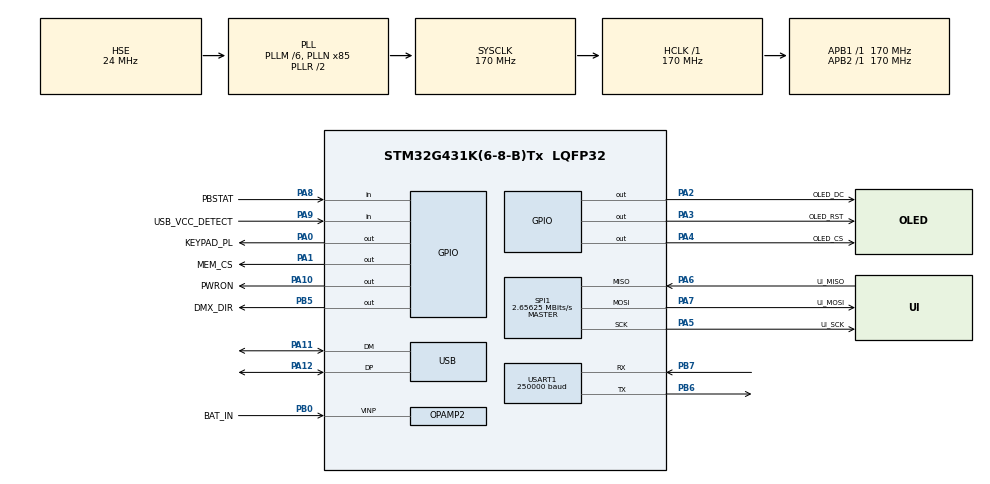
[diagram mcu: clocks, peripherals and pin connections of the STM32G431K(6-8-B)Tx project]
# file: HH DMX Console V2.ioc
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ADC2.Channel-0\#ChannelRegularConversion=ADC_CHANNEL_VOPAMP2
ADC2.ClockPrescaler=ADC_CLOCK_ASYNC_DIV256
ADC2.NbrOfConversionFlag=1
ADC2.OffsetNumber-0\#ChannelRegularConversion=ADC_OFFSET_NONE
ADC2.OversamplingMode=ENABLE
ADC2.Rank-0\#ChannelRegularConversion=1
ADC2.Ratio=ADC_OVERSAMPLING_RATIO_128
ADC2.RightBitShift=ADC_RIGHTBITSHIFT_7
ADC2.SamplingTime-0\#ChannelRegularConversion=ADC_SAMPLETIME_2CYCLES_5
Dma.Request0=SPI1_TX
Dma.Request1=USART1_TX
Dma.Request2=SPI1_RX
Dma.SPI1_RX.2.Direction=DMA_PERIPH_TO_MEMORY
Dma.SPI1_RX.2.EventEnable=DISABLE
Dma.SPI1_RX.2.Instance=DMA1_Channel3
Dma.SPI1_RX.2.MemDataAlignment=DMA_MDATAALIGN_BYTE
Dma.SPI1_RX.2.MemInc=DMA_MINC_ENABLE
Dma.SPI1_RX.2.Mode=DMA_NORMAL
Dma.SPI1_RX.2.PeriphDataAlignment=DMA_PDATAALIGN_BYTE
Dma.SPI1_RX.2.PeriphInc=DMA_PINC_DISABLE
Dma.SPI1_RX.2.Polarity=HAL_DMAMUX_REQ_GEN_RISING
Dma.SPI1_RX.2.Priority=DMA_PRIORITY_LOW
Dma.SPI1_RX.2.RequestNumber=1
Dma.SPI1_RX.2.SignalID=NONE
Dma.SPI1_RX.2.SyncEnable=DISABLE
Dma.SPI1_RX.2.SyncPolarity=HAL_DMAMUX_SYNC_NO_EVENT
Dma.SPI1_RX.2.SyncRequestNumber=1
Dma.SPI1_RX.2.SyncSignalID=NONE
Dma.SPI1_TX.0.Direction=DMA_MEMORY_TO_PERIPH
Dma.SPI1_TX.0.EventEnable=DISABLE
Dma.SPI1_TX.0.Instance=DMA1_Channel2
Dma.SPI1_TX.0.MemDataAlignment=DMA_MDATAALIGN_BYTE
Dma.SPI1_TX.0.MemInc=DMA_MINC_ENABLE
Dma.SPI1_TX.0.Mode=DMA_NORMAL
Dma.SPI1_TX.0.PeriphDataAlignment=DMA_PDATAALIGN_BYTE
Dma.SPI1_TX.0.PeriphInc=DMA_PINC_DISABLE
Dma.SPI1_TX.0.Polarity=HAL_DMAMUX_REQ_GEN_RISING
Dma.SPI1_TX.0.Priority=DMA_PRIORITY_LOW
Dma.SPI1_TX.0.RequestNumber=1
Dma.SPI1_TX.0.SignalID=NONE
Dma.SPI1_TX.0.SyncEnable=DISABLE
Dma.SPI1_TX.0.SyncPolarity=HAL_DMAMUX_SYNC_NO_EVENT
Dma.SPI1_TX.0.SyncRequestNumber=1
Dma.SPI1_TX.0.SyncSignalID=NONE
Dma.USART1_TX.1.Direction=DMA_MEMORY_TO_PERIPH
Dma.USART1_TX.1.EventEnable=DISABLE
Dma.USART1_TX.1.Instance=DMA1_Channel1
Dma.USART1_TX.1.MemDataAlignment=DMA_MDATAALIGN_BYTE
Dma.USART1_TX.1.MemInc=DMA_MINC_ENABLE
Dma.USART1_TX.1.Mode=DMA_NORMAL
Dma.USART1_TX.1.PeriphDataAlignment=DMA_PDATAALIGN_BYTE
Dma.USART1_TX.1.PeriphInc=DMA_PINC_DISABLE
Dma.USART1_TX.1.Polarity=HAL_DMAMUX_REQ_GEN_RISING
Dma.USART1_TX.1.Priority=DMA_PRIORITY_LOW
Dma.USART1_TX.1.RequestNumber=1
Dma.USART1_TX.1.SignalID=NONE
Dma.USART1_TX.1.SyncEnable=DISABLE
Dma.USART1_TX.1.SyncPolarity=HAL_DMAMUX_SYNC_NO_EVENT
Dma.USART1_TX.1.SyncRequestNumber=1
Dma.USART1_TX.1.SyncSignalID=NONE
Mcu.Family=STM32G4
Mcu.Name=STM32G431K(6-8-B)Tx
Mcu.Package=LQFP32
NVIC.ADC1_2_IRQn=true\:0\:0\:false\:false\:true\:true\:true
NVIC.DMA1_Channel1_IRQn=true\:0\:0\:false\:false\:true\:false\:true
NVIC.DMA1_Channel2_IRQn=true\:0\:0\:false\:false\:true\:false\:true
NVIC.DMA1_Channel3_IRQn=true\:0\:0\:false\:false\:true\:false\:true
NVIC.PriorityGroup=NVIC_PRIORITYGROUP_4
NVIC.SPI1_IRQn=true\:0\:0\:false\:false\:true\:true\:true
NVIC.TIM1_BRK_TIM15_IRQn=true\:0\:0\:false\:false\:true\:true\:true
NVIC.TIM1_TRG_COM_TIM17_IRQn=true\:0\:0\:false\:false\:true\:true\:true
NVIC.TIM1_UP_TIM16_IRQn=true\:0\:0\:false\:false\:true\:true\:true
NVIC.TIM6_DAC_IRQn=true\:0\:0\:false\:false\:true\:true\:true
NVIC.TIM7_IRQn=true\:0\:0\:false\:false\:true\:true\:true
NVIC.USART1_IRQn=true\:0\:0\:false\:false\:true\:true\:true
NVIC.USB_LP_IRQn=true\:0\:0\:false\:false\:true\:false\:true
PA0.GPIO_Label=KEYPAD_PL
PA0.Signal=GPIO_Output
PA1.GPIO_Label=MEM_CS
PA1.PinState=GPIO_PIN_SET
PA1.Signal=GPIO_Output
PA10.GPIO_Label=PWRON
PA10.GPIO_ModeDefaultOutputPP=GPIO_MODE_OUTPUT_PP
PA10.GPIO_PuPd=GPIO_NOPULL
PA10.GPIO_Speed=GPIO_SPEED_FREQ_LOW
PA10.PinState=GPIO_PIN_RESET
PA10.Signal=GPIO_Output
PA11.Mode=Device
PA11.Signal=USB_DM
PA12.Mode=Device
PA12.Signal=USB_DP
PA13.GPIO_Label=T_SWDIO
PA13.Mode=Trace_Asynchronous_SW
PA13.Signal=SYS_JTMS-SWDIO
PA14.GPIO_Label=T_SWCLK
PA14.Mode=Trace_Asynchronous_SW
PA14.Signal=SYS_JTCK-SWCLK
PA2.GPIO_Label=OLED_DC
PA2.Signal=GPIO_Output
PA3.GPIO_Label=OLED_RST
PA3.Signal=GPIO_Output
PA4.GPIO_Label=OLED_CS
PA4.Signal=GPIO_Output
PA5.GPIO_Label=UI_SCK
PA5.Mode=Full_Duplex_Master
PA5.Signal=SPI1_SCK
PA6.GPIO_Label=UI_MISO
PA6.Mode=Full_Duplex_Master
PA6.Signal=SPI1_MISO
PA7.GPIO_Label=UI_MOSI
PA7.Mode=Full_Duplex_Master
PA7.Signal=SPI1_MOSI
PA8.GPIO_Label=PBSTAT
PA8.GPIO_PuPd=GPIO_PULLUP
PA8.Signal=GPIO_Input
PA9.GPIO_Label=USB_VCC_DETECT
PA9.Signal=GPIO_Input
PB0.GPIO_Label=BAT_IN
PB0.Mode=Follower_Internally_Connected
PB0.Signal=OPAMP2_VINP
PB3.Mode=Trace_Asynchronous_SW
PB3.Signal=SYS_JTDO-SWO
PB5.GPIO_Label=DMX_DIR
PB5.Signal=GPIO_Output
PB6.Mode=Asynchronous
PB6.Signal=USART1_TX
PB7.Mode=Asynchronous
PB7.Signal=USART1_RX
PF0-OSC_IN.Mode=HSE-External-Oscillator
PF0-OSC_IN.Signal=RCC_OSC_IN
PF1-OSC_OUT.Mode=HSE-External-Oscillator
PF1-OSC_OUT.Signal=RCC_OSC_OUT
ProjectManager.HeapSize=0x200
ProjectManager.StackSize=0x400
ProjectManager.TargetToolchain=STM32CubeIDE
RCC.ADC12Freq_Value=170000000
RCC.AHBFreq_Value=170000000
RCC.APB1Freq_Value=170000000
RCC.APB1TimFreq_Value=170000000
RCC.APB2Freq_Value=170000000
RCC.APB2TimFreq_Value=170000000
RCC.CK48CLockSelection=RCC_USBCLKSOURCE_HSI48
RCC.CortexFreq_Value=170000000
RCC.EXTERNAL_CLOCK_VALUE=12288000
RCC.HCLKFreq_Value=170000000
RCC.HSE_VALUE=24000000
RCC.HSI48_VALUE=48000000
RCC.HSI_VALUE=16000000
RCC.LSE_VALUE=32768
RCC.PLLM=RCC_PLLM_DIV6
RCC.PLLN=85
RCC.PLLSourceVirtual=RCC_PLLSOURCE_HSE
RCC.SYSCLKFreq_VALUE=170000000
RCC.SYSCLKSource=RCC_SYSCLKSOURCE_PLLCLK
RCC.USBFreq_Value=48000000
RCC.VCOOutputFreq_Value=340000000
SPI1.BaudRatePrescaler=SPI_BAUDRATEPRESCALER_64
SPI1.CLKPhase=SPI_PHASE_1EDGE
SPI1.CLKPolarity=SPI_POLARITY_LOW
SPI1.CalculateBaudRate=2.65625 MBits/s
SPI1.DataSize=SPI_DATASIZE_8BIT
SPI1.Direction=SPI_DIRECTION_2LINES
SPI1.Mode=SPI_MODE_MASTER
SPI1.VirtualType=VM_MASTER
TIM15.AutoReloadPreload=TIM_AUTORELOAD_PRELOAD_ENABLE
TIM15.ClockDivision=TIM_CLOCKDIVISION_DIV1
TIM15.PeriodNoDither=1700
TIM15.Prescaler=10000
TIM16.AutoReloadPreload=TIM_AUTORELOAD_PRELOAD_ENABLE
TIM16.PeriodNoDither=850
TIM16.Prescaler=1000
TIM17.AutoReloadPreload=TIM_AUTORELOAD_PRELOAD_ENABLE
TIM17.PeriodNoDither=625
TIM17.Prescaler=2125
TIM6.AutoReloadPreload=TIM_AUTORELOAD_PRELOAD_ENABLE
TIM6.PeriodNoDither=92
TIM6.Prescaler=170
TIM7.AutoReloadPreload=TIM_AUTORELOAD_PRELOAD_ENABLE
TIM7.PeriodNoDither=12
TIM7.Prescaler=170
USART1.BaudRate=250000
USART1.Mode=MODE_TX
USART1.StopBits=STOPBITS_2
USART1.VirtualMode-Asynchronous=VM_ASYNC
USB_DEVICE.CLASS_NAME_FS=CDC
USB_DEVICE.VirtualMode=Cdc
USB_DEVICE.VirtualModeFS=Cdc_FS
VP_ADC2_OPAMP_INTERNAL2.Mode=IN-OPAMP2
VP_SYS_VS_DBSignals.Mode=DisableDeadBatterySignals
VP_TIM15_VS_ClockSourceINT.Mode=Internal
VP_TIM16_VS_ClockSourceINT.Mode=Enable_Timer
VP_TIM17_VS_ClockSourceINT.Mode=Enable_Timer
VP_TIM6_VS_ClockSourceINT.Mode=Enable_Timer
VP_TIM7_VS_ClockSourceINT.Mode=Enable_Timer
VP_USB_DEVICE_VS_USB_DEVICE_CDC_FS.Mode=CDC_FS
board=NUCLEO-G431KB

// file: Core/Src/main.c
/* USER CODE BEGIN Header */
/**
  ******************************************************************************
  * @file           : main.c
  * @brief          : Main program body
  ******************************************************************************
  * @attention
  *
  * <h2><center>&copy; Copyright (c) 2020 STMicroelectronics.
  * All rights reserved.</center></h2>
  *
  * This software component is licensed by ST under BSD 3-Clause license,
  * the "License"; You may not use this file except in compliance with the
  * License. You may obtain a copy of the License at:
  *                        opensource.org/licenses/BSD-3-Clause
  *
  ******************************************************************************
  */
/* USER CODE END Header */

#include "main.h"
#include "usb_device.h"

/* USER CODE BEGIN Includes */
#include "oled.h"
#include "stdio.h"
#include "cli.h"
#include "ui.h"
#include "keypad.h"
#include "eeprom.h"
#include "dmx.h"
#include "usb_iface.h"
#include "powerMgmt.h"
/* USER CODE END Includes */

ADC_HandleTypeDef hadc2;

OPAMP_HandleTypeDef hopamp2;

SPI_HandleTypeDef hspi1;
DMA_HandleTypeDef hdma_spi1_tx;
DMA_HandleTypeDef hdma_spi1_rx;

TIM_HandleTypeDef htim6;
TIM_HandleTypeDef htim7;
TIM_HandleTypeDef htim15;
TIM_HandleTypeDef htim16;
TIM_HandleTypeDef htim17;

UART_HandleTypeDef huart1;
DMA_HandleTypeDef hdma_usart1_tx;

/* USER CODE BEGIN PV */
extern uint8_t /*__attribute__ ((aligned(32)))*/ TXArray[513];
extern uint8_t switchToBootloader;
extern uint8_t presetData[CLI_PRESET_COUNT][512];

/* USER CODE END PV */

void SystemClock_Config(void);
static void MX_GPIO_Init(void);
static void MX_DMA_Init(void);
static void MX_TIM7_Init(void);
static void MX_TIM6_Init(void);
static void MX_SPI1_Init(void);
static void MX_TIM16_Init(void);
static void MX_TIM17_Init(void);
static void MX_TIM15_Init(void);
static void MX_USART1_UART_Init(void);
static void MX_ADC2_Init(void);
static void MX_OPAMP2_Init(void);

/* USER CODE BEGIN 0 */
void HAL_TIM_PeriodElapsedCallback (TIM_HandleTypeDef *htim)
{
	if(htim == &htim6 || htim == &htim7)	//12uS and 92uS
		DMX_TIM_PeriodElapsedCallback(htim);
	if(htim == &htim16)						//5mS
		UI_TimerCallback();
	if(htim == &htim15)						//500mS
		POWER_CheckStatus();
	if(htim == &htim17)						//7.8125mS
		CLI_Timer_Callback ();
}

int _write(int file, char *ptr, int len)
{
	int DataIdx;

	for (DataIdx = 0; DataIdx < len; DataIdx++)
	{
		ITM_SendChar(*ptr++);
	}
	return len;
}
/* USER CODE END 0 */

int main(void)
{
  /* USER CODE BEGIN 1 */
 	if(switchToBootloader == 0x11)
	USB_BootloaderInit();
  /* USER CODE END 1 */

  /* MCU Configuration--------------------------------------------------------*/

  /* Reset of all peripherals, Initializes the Flash interface and the Systick. */
  HAL_Init();

  /* Configure the system clock */
  SystemClock_Config();

  /* Initialize all configured peripherals */
  MX_GPIO_Init();
  MX_DMA_Init();
  MX_TIM7_Init();
  MX_TIM6_Init();
  MX_SPI1_Init();
  MX_TIM16_Init();
  MX_TIM17_Init();
  MX_TIM15_Init();
  MX_USART1_UART_Init();
  MX_USB_Device_Init();
  MX_ADC2_Init();
  MX_OPAMP2_Init();
  /* USER CODE BEGIN 2 */

  HAL_GPIO_WritePin(GPIOA, PWRON_Pin, GPIO_PIN_SET);
  HAL_GPIO_WritePin(GPIOA, PWRON_Pin, GPIO_PIN_RESET);

  UI_Init();
  while(!OLED_IsReady())
    UI_ProcessQueue();

  DMX_Init();
  CLI_Init(TXArray);
  POWER_Init();

  for(uint8_t i = 0; i < CLI_PRESET_COUNT; i++)
  {
	  while(EEPROM_IsBusy())
	  	  UI_ProcessQueue();

	  EEPROM_ReadBlock(i * 512, presetData[i], 512);
  }

  printf("Initialization Complete\n");
  /* USER CODE END 2 */

  /* Infinite loop */
  /* USER CODE BEGIN WHILE */
  while (1)
  {
    UI_ProcessQueue();
    Keypad_ProcessButtonPress();
    POWER_CheckPowerButton();
    EEPROM_QueryBusyFlag();
/*    if(!EEPROM_IsBusy())
    {
#ifdef DEBUG
    	__BKPT(0);
#endif
    }*/
    /* USER CODE END WHILE */

  }
}

void SystemClock_Config(void)
{
  RCC_OscInitTypeDef RCC_OscInitStruct = {0};
  RCC_ClkInitTypeDef RCC_ClkInitStruct = {0};
  RCC_PeriphCLKInitTypeDef PeriphClkInit = {0};

  /** Configure the main internal regulator output voltage
  */
  HAL_PWREx_ControlVoltageScaling(PWR_REGULATOR_VOLTAGE_SCALE1_BOOST);
  /** Initializes the CPU, AHB and APB busses clocks
  */
  RCC_OscInitStruct.OscillatorType = RCC_OSCILLATORTYPE_HSI48|RCC_OSCILLATORTYPE_HSE;
  RCC_OscInitStruct.HSEState = RCC_HSE_ON;
  RCC_OscInitStruct.HSI48State = RCC_HSI48_ON;
  RCC_OscInitStruct.PLL.PLLState = RCC_PLL_ON;
  RCC_OscInitStruct.PLL.PLLSource = RCC_PLLSOURCE_HSE;
  RCC_OscInitStruct.PLL.PLLM = RCC_PLLM_DIV6;
  RCC_OscInitStruct.PLL.PLLN = 85;
  RCC_OscInitStruct.PLL.PLLP = RCC_PLLP_DIV2;
  RCC_OscInitStruct.PLL.PLLQ = RCC_PLLQ_DIV2;
  RCC_OscInitStruct.PLL.PLLR = RCC_PLLR_DIV2;
  if (HAL_RCC_OscConfig(&RCC_OscInitStruct) != HAL_OK)
  {
    Error_Handler();
  }
  /** Initializes the CPU, AHB and APB busses clocks
  */
  RCC_ClkInitStruct.ClockType = RCC_CLOCKTYPE_HCLK|RCC_CLOCKTYPE_SYSCLK
                              |RCC_CLOCKTYPE_PCLK1|RCC_CLOCKTYPE_PCLK2;
  RCC_ClkInitStruct.SYSCLKSource = RCC_SYSCLKSOURCE_PLLCLK;
  RCC_ClkInitStruct.AHBCLKDivider = RCC_SYSCLK_DIV1;
  RCC_ClkInitStruct.APB1CLKDivider = RCC_HCLK_DIV1;
  RCC_ClkInitStruct.APB2CLKDivider = RCC_HCLK_DIV1;

  if (HAL_RCC_ClockConfig(&RCC_ClkInitStruct, FLASH_LATENCY_8) != HAL_OK)
  {
    Error_Handler();
  }
  /** Initializes the peripherals clocks
  */
  PeriphClkInit.PeriphClockSelection = RCC_PERIPHCLK_USART1|RCC_PERIPHCLK_USB
                              |RCC_PERIPHCLK_ADC12;
  PeriphClkInit.Usart1ClockSelection = RCC_USART1CLKSOURCE_PCLK2;
  PeriphClkInit.UsbClockSelection = RCC_USBCLKSOURCE_HSI48;
  PeriphClkInit.Adc12ClockSelection = RCC_ADC12CLKSOURCE_SYSCLK;
  if (HAL_RCCEx_PeriphCLKConfig(&PeriphClkInit) != HAL_OK)
  {
    Error_Handler();
  }
}

static void MX_ADC2_Init(void)
{

  ADC_ChannelConfTypeDef sConfig = {0};

  /** Common config
  */
  hadc2.Instance = ADC2;
  hadc2.Init.ClockPrescaler = ADC_CLOCK_ASYNC_DIV256;
  hadc2.Init.Resolution = ADC_RESOLUTION_12B;
  hadc2.Init.DataAlign = ADC_DATAALIGN_RIGHT;
  hadc2.Init.GainCompensation = 0;
  hadc2.Init.ScanConvMode = ADC_SCAN_DISABLE;
  hadc2.Init.EOCSelection = ADC_EOC_SINGLE_CONV;
  hadc2.Init.LowPowerAutoWait = DISABLE;
  hadc2.Init.ContinuousConvMode = DISABLE;
  hadc2.Init.NbrOfConversion = 1;
  hadc2.Init.DiscontinuousConvMode = DISABLE;
  hadc2.Init.ExternalTrigConv = ADC_SOFTWARE_START;
  hadc2.Init.ExternalTrigConvEdge = ADC_EXTERNALTRIGCONVEDGE_NONE;
  hadc2.Init.DMAContinuousRequests = DISABLE;
  hadc2.Init.Overrun = ADC_OVR_DATA_PRESERVED;
  hadc2.Init.OversamplingMode = ENABLE;
  hadc2.Init.Oversampling.Ratio = ADC_OVERSAMPLING_RATIO_128;
  hadc2.Init.Oversampling.RightBitShift = ADC_RIGHTBITSHIFT_7;
  hadc2.Init.Oversampling.TriggeredMode = ADC_TRIGGEREDMODE_SINGLE_TRIGGER;
  hadc2.Init.Oversampling.OversamplingStopReset = ADC_REGOVERSAMPLING_CONTINUED_MODE;
  if (HAL_ADC_Init(&hadc2) != HAL_OK)
  {
    Error_Handler();
  }
  /** Configure Regular Channel
  */
  sConfig.Channel = ADC_CHANNEL_VOPAMP2;
  sConfig.Rank = ADC_REGULAR_RANK_1;
  sConfig.SamplingTime = ADC_SAMPLETIME_2CYCLES_5;
  sConfig.SingleDiff = ADC_SINGLE_ENDED;
  sConfig.OffsetNumber = ADC_OFFSET_NONE;
  sConfig.Offset = 0;
  if (HAL_ADC_ConfigChannel(&hadc2, &sConfig) != HAL_OK)
  {
    Error_Handler();
  }

}

static void MX_OPAMP2_Init(void)
{

  hopamp2.Instance = OPAMP2;
  hopamp2.Init.PowerMode = OPAMP_POWERMODE_NORMAL;
  hopamp2.Init.Mode = OPAMP_FOLLOWER_MODE;
  hopamp2.Init.NonInvertingInput = OPAMP_NONINVERTINGINPUT_IO2;
  hopamp2.Init.InternalOutput = ENABLE;
  hopamp2.Init.TimerControlledMuxmode = OPAMP_TIMERCONTROLLEDMUXMODE_DISABLE;
  hopamp2.Init.UserTrimming = OPAMP_TRIMMING_FACTORY;
  if (HAL_OPAMP_Init(&hopamp2) != HAL_OK)
  {
    Error_Handler();
  }

}

static void MX_SPI1_Init(void)
{

  /* SPI1 parameter configuration*/
  hspi1.Instance = SPI1;
  hspi1.Init.Mode = SPI_MODE_MASTER;
  hspi1.Init.Direction = SPI_DIRECTION_2LINES;
  hspi1.Init.DataSize = SPI_DATASIZE_8BIT;
  hspi1.Init.CLKPolarity = SPI_POLARITY_LOW;
  hspi1.Init.CLKPhase = SPI_PHASE_1EDGE;
  hspi1.Init.NSS = SPI_NSS_SOFT;
  hspi1.Init.BaudRatePrescaler = SPI_BAUDRATEPRESCALER_64;
  hspi1.Init.FirstBit = SPI_FIRSTBIT_MSB;
  hspi1.Init.TIMode = SPI_TIMODE_DISABLE;
  hspi1.Init.CRCCalculation = SPI_CRCCALCULATION_DISABLE;
  hspi1.Init.CRCPolynomial = 7;
  hspi1.Init.CRCLength = SPI_CRC_LENGTH_DATASIZE;
  hspi1.Init.NSSPMode = SPI_NSS_PULSE_ENABLE;
  if (HAL_SPI_Init(&hspi1) != HAL_OK)
  {
    Error_Handler();
  }

}

static void MX_TIM6_Init(void)
{

  TIM_MasterConfigTypeDef sMasterConfig = {0};

  htim6.Instance = TIM6;
  htim6.Init.Prescaler = 170;
  htim6.Init.CounterMode = TIM_COUNTERMODE_UP;
  htim6.Init.Period = 92;
  htim6.Init.AutoReloadPreload = TIM_AUTORELOAD_PRELOAD_ENABLE;
  if (HAL_TIM_Base_Init(&htim6) != HAL_OK)
  {
    Error_Handler();
  }
  sMasterConfig.MasterOutputTrigger = TIM_TRGO_RESET;
  sMasterConfig.MasterSlaveMode = TIM_MASTERSLAVEMODE_DISABLE;
  if (HAL_TIMEx_MasterConfigSynchronization(&htim6, &sMasterConfig) != HAL_OK)
  {
    Error_Handler();
  }

}

static void MX_TIM7_Init(void)
{

  TIM_MasterConfigTypeDef sMasterConfig = {0};

  htim7.Instance = TIM7;
  htim7.Init.Prescaler = 170;
  htim7.Init.CounterMode = TIM_COUNTERMODE_UP;
  htim7.Init.Period = 12;
  htim7.Init.AutoReloadPreload = TIM_AUTORELOAD_PRELOAD_ENABLE;
  if (HAL_TIM_Base_Init(&htim7) != HAL_OK)
  {
    Error_Handler();
  }
  sMasterConfig.MasterOutputTrigger = TIM_TRGO_RESET;
  sMasterConfig.MasterSlaveMode = TIM_MASTERSLAVEMODE_DISABLE;
  if (HAL_TIMEx_MasterConfigSynchronization(&htim7, &sMasterConfig) != HAL_OK)
  {
    Error_Handler();
  }

}

static void MX_TIM15_Init(void)
{

  TIM_ClockConfigTypeDef sClockSourceConfig = {0};
  TIM_MasterConfigTypeDef sMasterConfig = {0};

  htim15.Instance = TIM15;
  htim15.Init.Prescaler = 10000;
  htim15.Init.CounterMode = TIM_COUNTERMODE_UP;
  htim15.Init.Period = 1700;
  htim15.Init.ClockDivision = TIM_CLOCKDIVISION_DIV1;
  htim15.Init.RepetitionCounter = 0;
  htim15.Init.AutoReloadPreload = TIM_AUTORELOAD_PRELOAD_ENABLE;
  if (HAL_TIM_Base_Init(&htim15) != HAL_OK)
  {
    Error_Handler();
  }
  sClockSourceConfig.ClockSource = TIM_CLOCKSOURCE_INTERNAL;
  if (HAL_TIM_ConfigClockSource(&htim15, &sClockSourceConfig) != HAL_OK)
  {
    Error_Handler();
  }
  sMasterConfig.MasterOutputTrigger = TIM_TRGO_RESET;
  sMasterConfig.MasterSlaveMode = TIM_MASTERSLAVEMODE_DISABLE;
  if (HAL_TIMEx_MasterConfigSynchronization(&htim15, &sMasterConfig) != HAL_OK)
  {
    Error_Handler();
  }

}

static void MX_TIM16_Init(void)
{

  htim16.Instance = TIM16;
  htim16.Init.Prescaler = 1000;
  htim16.Init.CounterMode = TIM_COUNTERMODE_UP;
  htim16.Init.Period = 850;
  htim16.Init.ClockDivision = TIM_CLOCKDIVISION_DIV1;
  htim16.Init.RepetitionCounter = 0;
  htim16.Init.AutoReloadPreload = TIM_AUTORELOAD_PRELOAD_ENABLE;
  if (HAL_TIM_Base_Init(&htim16) != HAL_OK)
  {
    Error_Handler();
  }

}

static void MX_TIM17_Init(void)
{

  htim17.Instance = TIM17;
  htim17.Init.Prescaler = 2125;
  htim17.Init.CounterMode = TIM_COUNTERMODE_UP;
  htim17.Init.Period = 625;
  htim17.Init.ClockDivision = TIM_CLOCKDIVISION_DIV1;
  htim17.Init.RepetitionCounter = 0;
  htim17.Init.AutoReloadPreload = TIM_AUTORELOAD_PRELOAD_ENABLE;
  if (HAL_TIM_Base_Init(&htim17) != HAL_OK)
  {
    Error_Handler();
  }

}

static void MX_USART1_UART_Init(void)
{

  huart1.Instance = USART1;
  huart1.Init.BaudRate = 250000;
  huart1.Init.WordLength = UART_WORDLENGTH_8B;
  huart1.Init.StopBits = UART_STOPBITS_2;
  huart1.Init.Parity = UART_PARITY_NONE;
  huart1.Init.Mode = UART_MODE_TX;
  huart1.Init.HwFlowCtl = UART_HWCONTROL_NONE;
  huart1.Init.OverSampling = UART_OVERSAMPLING_16;
  huart1.Init.OneBitSampling = UART_ONE_BIT_SAMPLE_DISABLE;
  huart1.Init.ClockPrescaler = UART_PRESCALER_DIV1;
  huart1.AdvancedInit.AdvFeatureInit = UART_ADVFEATURE_NO_INIT;
  if (HAL_UART_Init(&huart1) != HAL_OK)
  {
    Error_Handler();
  }
  if (HAL_UARTEx_SetTxFifoThreshold(&huart1, UART_TXFIFO_THRESHOLD_1_8) != HAL_OK)
  {
    Error_Handler();
  }
  if (HAL_UARTEx_SetRxFifoThreshold(&huart1, UART_RXFIFO_THRESHOLD_1_8) != HAL_OK)
  {
    Error_Handler();
  }
  if (HAL_UARTEx_DisableFifoMode(&huart1) != HAL_OK)
  {
    Error_Handler();
  }

}

static void MX_DMA_Init(void)
{

  /* DMA controller clock enable */
  __HAL_RCC_DMAMUX1_CLK_ENABLE();
  __HAL_RCC_DMA1_CLK_ENABLE();

  /* DMA interrupt init */
  /* DMA1_Channel1_IRQn interrupt configuration */
  HAL_NVIC_SetPriority(DMA1_Channel1_IRQn, 0, 0);
  HAL_NVIC_EnableIRQ(DMA1_Channel1_IRQn);
  /* DMA1_Channel2_IRQn interrupt configuration */
  HAL_NVIC_SetPriority(DMA1_Channel2_IRQn, 0, 0);
  HAL_NVIC_EnableIRQ(DMA1_Channel2_IRQn);
  /* DMA1_Channel3_IRQn interrupt configuration */
  HAL_NVIC_SetPriority(DMA1_Channel3_IRQn, 0, 0);
  HAL_NVIC_EnableIRQ(DMA1_Channel3_IRQn);

}

static void MX_GPIO_Init(void)
{
  GPIO_InitTypeDef GPIO_InitStruct = {0};

  /* GPIO Ports Clock Enable */
  __HAL_RCC_GPIOF_CLK_ENABLE();
  __HAL_RCC_GPIOG_CLK_ENABLE();
  __HAL_RCC_GPIOA_CLK_ENABLE();
  __HAL_RCC_GPIOB_CLK_ENABLE();

  /*Configure GPIO pin Output Level */
  HAL_GPIO_WritePin(GPIOA, KEYPAD_PL_Pin|OLED_DC_Pin|OLED_RST_Pin|OLED_CS_Pin
                          |PWRON_Pin, GPIO_PIN_RESET);

  /*Configure GPIO pin Output Level */
  HAL_GPIO_WritePin(MEM_CS_GPIO_Port, MEM_CS_Pin, GPIO_PIN_SET);

  /*Configure GPIO pin Output Level */
  HAL_GPIO_WritePin(DMX_DIR_GPIO_Port, DMX_DIR_Pin, GPIO_PIN_RESET);

  /*Configure GPIO pin : PG10 */
  GPIO_InitStruct.Pin = GPIO_PIN_10;
  GPIO_InitStruct.Mode = GPIO_MODE_ANALOG;
  GPIO_InitStruct.Pull = GPIO_NOPULL;
  HAL_GPIO_Init(GPIOG, &GPIO_InitStruct);

  /*Configure GPIO pins : KEYPAD_PL_Pin MEM_CS_Pin OLED_DC_Pin OLED_RST_Pin
                           OLED_CS_Pin PWRON_Pin */
  GPIO_InitStruct.Pin = KEYPAD_PL_Pin|MEM_CS_Pin|OLED_DC_Pin|OLED_RST_Pin
                          |OLED_CS_Pin|PWRON_Pin;
  GPIO_InitStruct.Mode = GPIO_MODE_OUTPUT_PP;
  GPIO_InitStruct.Pull = GPIO_NOPULL;
  GPIO_InitStruct.Speed = GPIO_SPEED_FREQ_LOW;
  HAL_GPIO_Init(GPIOA, &GPIO_InitStruct);

  /*Configure GPIO pin : PBSTAT_Pin */
  GPIO_InitStruct.Pin = PBSTAT_Pin;
  GPIO_InitStruct.Mode = GPIO_MODE_INPUT;
  GPIO_InitStruct.Pull = GPIO_PULLUP;
  HAL_GPIO_Init(PBSTAT_GPIO_Port, &GPIO_InitStruct);

  /*Configure GPIO pin : USB_VCC_DETECT_Pin */
  GPIO_InitStruct.Pin = USB_VCC_DETECT_Pin;
  GPIO_InitStruct.Mode = GPIO_MODE_INPUT;
  GPIO_InitStruct.Pull = GPIO_NOPULL;
  HAL_GPIO_Init(USB_VCC_DETECT_GPIO_Port, &GPIO_InitStruct);

  /*Configure GPIO pin : PA15 */
  GPIO_InitStruct.Pin = GPIO_PIN_15;
  GPIO_InitStruct.Mode = GPIO_MODE_ANALOG;
  GPIO_InitStruct.Pull = GPIO_NOPULL;
  HAL_GPIO_Init(GPIOA, &GPIO_InitStruct);

  /*Configure GPIO pins : PB4 PB8 */
  GPIO_InitStruct.Pin = GPIO_PIN_4|GPIO_PIN_8;
  GPIO_InitStruct.Mode = GPIO_MODE_ANALOG;
  GPIO_InitStruct.Pull = GPIO_NOPULL;
  HAL_GPIO_Init(GPIOB, &GPIO_InitStruct);

  /*Configure GPIO pin : DMX_DIR_Pin */
  GPIO_InitStruct.Pin = DMX_DIR_Pin;
  GPIO_InitStruct.Mode = GPIO_MODE_OUTPUT_PP;
  GPIO_InitStruct.Pull = GPIO_NOPULL;
  GPIO_InitStruct.Speed = GPIO_SPEED_FREQ_LOW;
  HAL_GPIO_Init(DMX_DIR_GPIO_Port, &GPIO_InitStruct);

}

void Error_Handler(void)
{
}

/************************ (C) COPYRIGHT STMicroelectronics *****END OF FILE****/
